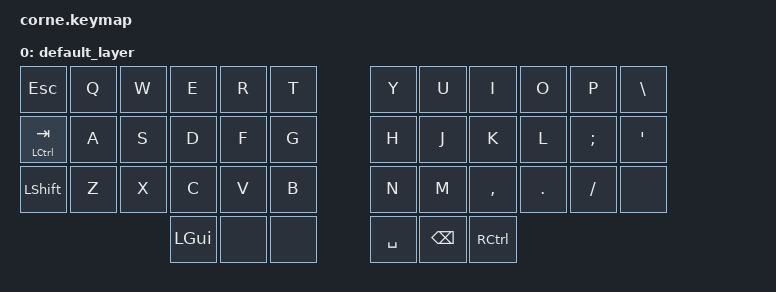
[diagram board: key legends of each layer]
/*
 * Copyright (c) 2020 The ZMK Contributors
 *
 * SPDX-License-Identifier: MIT
 * To use home rows - &hm LSHFT F
 */

#include <behaviors.dtsi>
#include <dt-bindings/zmk/keys.h>

#define QWERTY 0
#define NUMB 1
#define NAVI 2
#define ADJUST 3

/ {
    behaviors {
        hm: homerow_mods {
            compatible = "zmk,behavior-hold-tap";
            label = "HOMEROW_MODS";
            #binding-cells = <2>;
            tapping-term-ms = <150>;
            quick_tap_ms = <0>;
            flavor = "tap-preferred";
            bindings = <&kp>, <&kp>;
        };
    };

    keymap {
        compatible = "zmk,keymap";

        default_layer {
            // .--------------------------------------------------------------.       .-----------------------------------------------------------.
            // |   ESC        |    Q    |    W   |   E    |    R    |    T    |       |   Y   |    U    |    I    |    O    |     P    |    \     |
            // |--------------+---------+--------+--------+---------+---------|       |-------+---------+---------+---------+----------+----------|
            // |   CTRL/Tab   |    A    |    S   |   D    |    F    |    G    |       |   H   |    J    |    K    |    L    |     ;    |     '    |
            // |--------------+---------+--------+--------+---------+---------|       |-------+---------+---------+---------+----------+----------|
            // |   SHFT       |    Z    |    X   |   C    |    V    |    B    |       |   N   |    M    |    ,    |    .    |     /    | ` | ALT  |
            // '---------------------------------+--------+---------+---------+       |-------+---------+---------+-------------------------------'
            //                                   |  GUI   |   MO1   |   ENT   |       |  SPC  |   BKSP  |  CAPS   |
            //                                   '--------+---------+---------'       '-------+---------+---------'

            bindings = <
&kp ESC        &kp Q  &kp W  &kp E     &kp R  &kp T    &kp Y      &kp U     &kp I              &kp O    &kp P     &kp BACKSLASH
&mt LCTRL TAB  &kp A  &kp S  &kp D     &kp F  &kp G    &kp H      &kp J     &kp K              &kp L    &kp SEMI  &kp SQT
&kp LSHFT      &kp Z  &kp X  &kp C     &kp V  &kp B    &kp N      &kp M     &kp COMMA          &kp DOT  &kp FSLH  &none
                             &kp LGUI  &none  &none    &kp SPACE  &kp BSPC  &kp RIGHT_CONTROL
            >;
        };
    };
};
